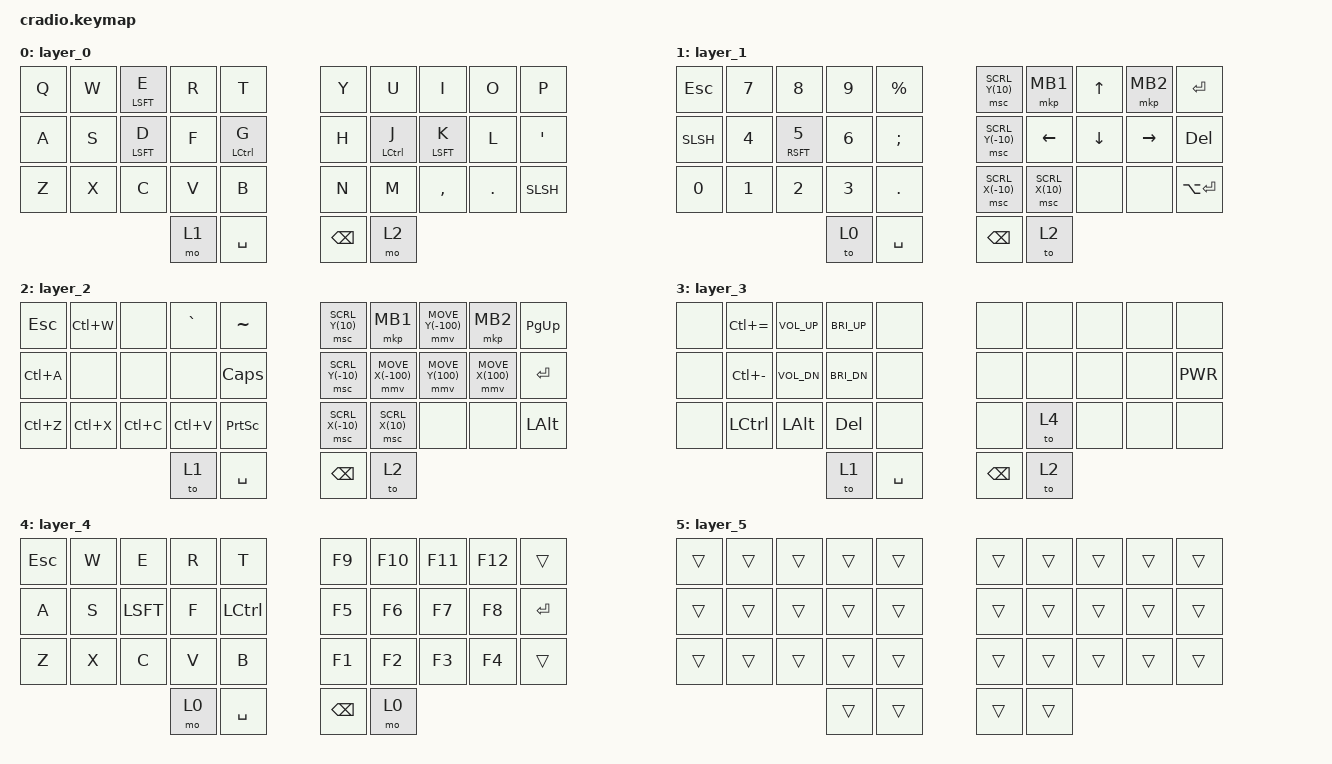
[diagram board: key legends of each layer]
#include <behaviors.dtsi>
#include <dt-bindings/zmk/keys.h>
#include <dt-bindings/zmk/bt.h>
#include <dt-bindings/zmk/pointing.h>

// Layer Aliases
#define L0 0
#define L1 1
#define L2 2
#define L3 3
#define L4 4
#define L5 5

/ {
    behaviors {
        hm: home_row_mods {
            compatible = "zmk,behavior-hold-tap";
            #binding-cells = <2>;
            tapping-term-ms = <200>;
            quick-tap-ms = <150>;
            flavor = "balanced";
            bindings = <&kp>, <&kp>;
        };
    };

    combos {
        compatible = "zmk,combos";
        timeout-ms = <50>;

        combo_tab { key-positions = <20 21>; bindings = <&kp TAB>; layers = <L0 L4>; };
        combo_caps { key-positions = <23 25>; bindings = <&kp CAPS>; layers = <L0>; };
        combo_enter { key-positions = <32 9>; bindings = <&kp ENTER>; layers = <L0>; };
        combo_excl { key-positions = <0 1>; bindings = <&kp EXCL>; layers = <L0>; };
        combo_at { key-positions = <0 2>; bindings = <&kp AT>; layers = <L0>; };
        combo_hash { key-positions = <0 3>; bindings = <&kp HASH>; layers = <L0>; };
        combo_4 { key-positions = <10 11>; bindings = <&kp DLLR>; layers = <L0>; };
        combo_5 { key-positions = <11 13>; bindings = <&kp PRCNT>; layers = <L0>; };
        combo_6 { key-positions = <10 13>; bindings = <&kp CARET>; layers = <L0>; };
        combo_minus { key-positions = <7 6>; bindings = <&kp MINUS>; layers = <L0>; };
        combo_equal { key-positions = <8 7>; bindings = <&kp EQUAL>; layers = <L0>; };
        combo_esc1 { key-positions = <0 9>; bindings = <&kp ESC>; layers = <L0>; };
        combo_esc2 { key-positions = <0 1 2>; bindings = <&kp ESC>; layers = <L0>; };
        combo_dfl0 { key-positions = <31 32>; bindings = <&to L0>; layers = <L0 L1 L2 L3 L4>; };
        combo_dfl3 { key-positions = <30 33>; bindings = <&to L3>; layers = <L0 L2 L3>; };
        combo_lgui { key-positions = <4 3>; bindings = <&kp LGUI>; layers = <L0 L4>; };
        combo_lbrc { key-positions = <27 26>; bindings = <&kp LBKT>; layers = <L0>; };
        combo_rbrc { key-positions = <29 28>; bindings = <&kp RBKT>; layers = <L0>; };
    };

    keymap {
        compatible = "zmk,keymap";

        layer_0 {
            bindings = <
&kp Q  &kp W  &hm LSFT E  &kp R  &kp T          &kp Y  &kp U       &kp I       &kp O  &kp P
&kp A  &kp S  &hm LSFT D  &kp F  &hm LCTL G     &kp H  &hm LCTL J  &hm LSFT K  &kp L  &kp SQT
&kp Z  &kp X  &kp C       &kp V  &kp B          &kp N  &kp M       &kp COMMA   &kp DOT &kp SLSH
                          &mo L1 &kp SPC        &kp BSPC &mo L2
            >;
        };

        layer_1 {
            bindings = <
&kp ESC   &kp N7  &kp N8       &kp N9  &kp PRCNT      &msc SCRL_Y(10)   &mkp MB1  &kp UP    &mkp MB2  &kp ENTER
&kp SLSH  &kp N4  &hm RSFT N5  &kp N6  &kp SCLN       &msc SCRL_Y(-10) &kp LEFT   &kp DOWN  &kp RIGHT  &kp DEL
&kp N0    &kp N1  &kp N2       &kp N3  &kp DOT        &msc SCRL_X(-10) &msc SCRL_X(10) &none &none    &kp LA(ENTER)
                               &to L0  &kp SPC        &kp BSPC       &to L2
            >;
        };

        layer_2 {
            bindings = <
&kp ESC       &kp LC(W)  &none  &kp GRAVE  &kp TILDE     &msc SCRL_Y(10)   &mkp MB1       &mmv MOVE_Y(-100)   &mkp MB2        &kp PG_UP
&kp LC(A)     &none      &none  &none      &kp CAPS      &msc SCRL_Y(-10) &mmv MOVE_X(-100)  &mmv MOVE_Y(100) &mmv MOVE_X(100)  &kp ENTER
&kp LC(Z)     &kp LC(X)  &kp LC(C) &kp LC(V) &kp PSCRN   &msc SCRL_X(-10) &msc SCRL_X(10) &none          &none            &kp LALT
                                &to L1     &kp SPC       &kp BSPC       &to L2
            >;
        };

        layer_3 {
            bindings = <
&none  &kp LC(EQUAL) &kp C_VOL_UP &kp C_BRI_UP &none     &none  &none    &none  &none  &none
&none  &kp LC(MINUS) &kp C_VOL_DN &kp C_BRI_DN &none     &none  &none    &none  &none  &kp C_PWR
&none  &kp LCTRL     &kp LALT     &kp DEL      &none     &none  &to L4   &none  &none  &none
                                  &to L1       &kp SPC   &kp BSPC &to L2
            >;
        };

        layer_4 {
            bindings = <
&kp ESC  &kp W  &kp E      &kp R  &kp T         &kp F9  &kp F10  &kp F11  &kp F12  &trans
&kp A    &kp S  &kp LSFT   &kp F  &kp LCTL      &kp F5  &kp F6   &kp F7   &kp F8   &kp ENTER
&kp Z    &kp X  &kp C      &kp V  &kp B         &kp F1  &kp F2   &kp F3   &kp F4   &trans
                           &mo L0 &kp SPC       &kp BSPC &mo L0
            >;
        };

        layer_5 {
            bindings = <
&trans  &trans  &trans  &trans  &trans      &trans  &trans  &trans  &trans  &trans
&trans  &trans  &trans  &trans  &trans      &trans  &trans  &trans  &trans  &trans
&trans  &trans  &trans  &trans  &trans      &trans  &trans  &trans  &trans  &trans
                        &trans  &trans      &trans  &trans
            >;
        };
    };
